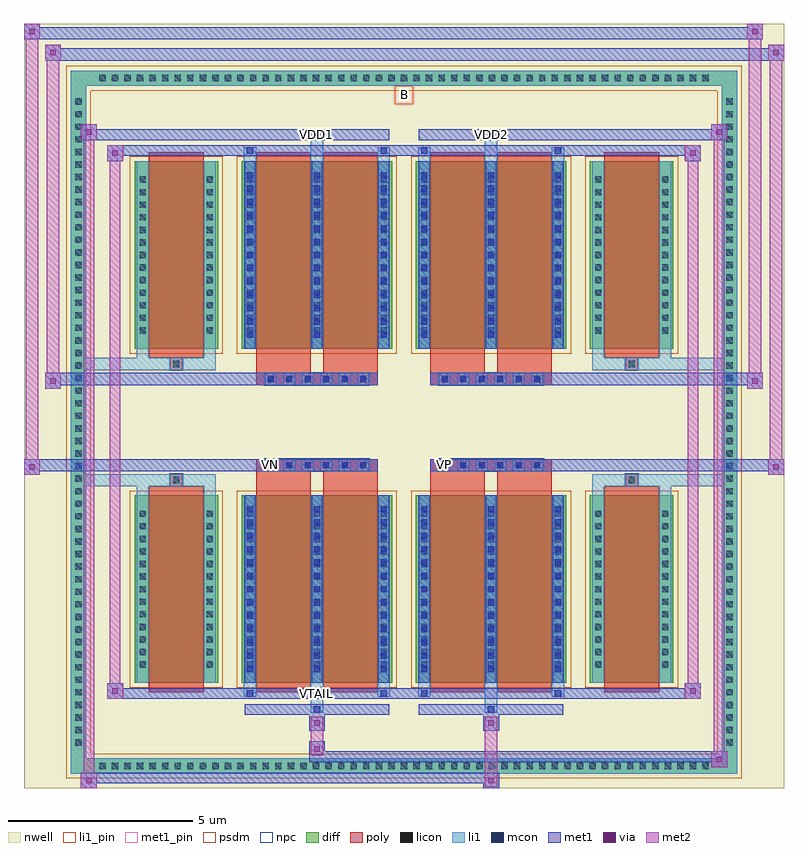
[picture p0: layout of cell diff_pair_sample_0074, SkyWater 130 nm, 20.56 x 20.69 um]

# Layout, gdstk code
import gdstk
lib = gdstk.Library(unit=1e-6, precision=5e-09)
def R(c, l, rs):  # rectangles x0, y0, x1, y1
    for r in rs: c.add(gdstk.rectangle(r[:2], r[2:], *l))
def A(c, l, x, y, w, h, nx, ny, dx, dy):  # array of equal rectangles
    R(c, l, [(x+i*dx, y+j*dy, x+i*dx+w, y+j*dy+h) for i in range(nx) for j in range(ny)])
def P(c, l, *ps):  # polygons
    for p in ps: c.add(gdstk.Polygon(p, *l))
nwell = (64, 20)
diff = (65, 20)
poly = (66, 20)
licon = (66, 44)
li1_pin = (67, 16)
li1 = (67, 20)
mcon = (67, 44)
met1_pin = (68, 16)
met1 = (68, 20)
via = (68, 44)
met2 = (69, 20)
psdm = (94, 20)
npc = (95, 20)

diff_pair_sample_0074 = lib.new_cell('diff_pair_sample_0074')
R(diff_pair_sample_0074, nwell, [(-10.28,-9.91,10.28,10.78), (-7.6,-8.1,-0.01,-0.8), (0.01,-8.1,7.6,-0.8), (-7.6,0.8,-0.01,8.1), (0.01,0.8,7.6,8.1)])
A(diff_pair_sample_0074, diff, -8.365, -9.51, 0.41, 0.41, 49, 2, 0.34, 18.61)
A(diff_pair_sample_0074, diff, -9.01, -8.875, 0.41, 0.41, 1, 52, 0, 0.34)
A(diff_pair_sample_0074, diff, 8.6, -8.875, 0.41, 0.41, 1, 52, 0, 0.34)
R(diff_pair_sample_0074, diff, [(-8.365,-9.51,8.365,-9.1), (-9.01,-8.875,-8.6,8.875), (8.6,-8.875,9.01,8.875), (-7.29,-7.055,-5.03,-1.985), (-4.39,-7.055,-0.32,-1.985), (0.32,-7.055,4.39,-1.985), (5.03,-7.055,7.29,-1.985), (-7.29,1.985,-5.03,7.055), (-4.39,1.985,-0.32,7.055), (0.32,1.985,4.39,7.055), (5.03,1.985,7.29,7.055), (-8.365,9.1,8.365,9.51)])
P(diff_pair_sample_0074, diff, [(9.01,9.51),(-9.01,9.51),(-9.01,-9.1),(-8.6,-9.1),(-8.6,9.1),(8.6,9.1),(8.6,-9.1),(-8.6,-9.1),(-9.01,-9.1),(-9.01,-9.51),(9.01,-9.51)])
A(diff_pair_sample_0074, poly, -3.77, -1.33, 0.33, 0.33, 6, 2, 0.5, 2.33)
A(diff_pair_sample_0074, poly, 0.94, -1.33, 0.33, 0.33, 6, 2, 0.5, 2.33)
R(diff_pair_sample_0074, poly, [(-6.9,-7.305,-5.42,-1.735), (-4,-7.305,-2.52,-1.735), (-2.19,-7.305,-0.71,-1.735), (0.71,-7.305,2.19,-1.735), (2.52,-7.305,4,-1.735), (5.42,-7.305,6.9,-1.735), (-6.325,-1.735,-5.995,-1.405), (-6.325,-1.735,-5.995,-1.405), (-4,-1.735,-2.52,-1.33), (-2.19,-1.735,-0.71,-1.33), (0.71,-1.735,2.19,-1.33), (2.52,-1.735,4,-1.33), (5.995,-1.735,6.325,-1.405), (5.995,-1.735,6.325,-1.405), (-4,-1.33,-0.71,-1), (0.71,-1.33,4,-1), (-4,1,-0.71,1.33), (0.71,1,4,1.33), (-4,1.33,-2.52,1.735), (-2.19,1.33,-0.71,1.735), (0.71,1.33,2.19,1.735), (2.52,1.33,4,1.735), (-6.325,1.405,-5.995,1.735), (-6.325,1.405,-5.995,1.735), (5.995,1.405,6.325,1.735), (5.995,1.405,6.325,1.735), (-6.9,1.735,-5.42,7.305), (-4,1.735,-2.52,7.305), (-2.19,1.735,-0.71,7.305), (0.71,1.735,2.19,7.305), (2.52,1.735,4,7.305), (5.42,1.735,6.9,7.305)])
A(diff_pair_sample_0074, licon, -8.245, -9.39, 0.17, 0.17, 49, 2, 0.34, 18.61)
A(diff_pair_sample_0074, licon, -8.89, -8.755, 0.17, 0.17, 1, 52, 0, 0.34)
A(diff_pair_sample_0074, licon, 8.72, -8.755, 0.17, 0.17, 1, 52, 0, 0.34)
A(diff_pair_sample_0074, licon, -7.15, -6.645, 0.17, 0.17, 1, 13, 0, 0.34)
A(diff_pair_sample_0074, licon, -5.34, -6.645, 0.17, 0.17, 1, 13, 0, 0.34)
A(diff_pair_sample_0074, licon, -4.25, -6.645, 0.17, 0.17, 3, 13, 1.81, 0.34)
A(diff_pair_sample_0074, licon, 0.46, -6.645, 0.17, 0.17, 3, 13, 1.81, 0.34)
A(diff_pair_sample_0074, licon, 5.17, -6.645, 0.17, 0.17, 1, 13, 0, 0.34)
A(diff_pair_sample_0074, licon, 6.98, -6.645, 0.17, 0.17, 1, 13, 0, 0.34)
A(diff_pair_sample_0074, licon, -3.69, -1.25, 0.17, 0.17, 6, 2, 0.5, 2.33)
A(diff_pair_sample_0074, licon, 1.02, -1.25, 0.17, 0.17, 6, 2, 0.5, 2.33)
A(diff_pair_sample_0074, licon, -7.15, 2.395, 0.17, 0.17, 1, 13, 0, 0.34)
A(diff_pair_sample_0074, licon, -5.34, 2.395, 0.17, 0.17, 1, 13, 0, 0.34)
A(diff_pair_sample_0074, licon, -4.25, 2.395, 0.17, 0.17, 3, 13, 1.81, 0.34)
A(diff_pair_sample_0074, licon, 0.46, 2.395, 0.17, 0.17, 3, 13, 1.81, 0.34)
A(diff_pair_sample_0074, licon, 5.17, 2.395, 0.17, 0.17, 1, 13, 0, 0.34)
A(diff_pair_sample_0074, licon, 6.98, 2.395, 0.17, 0.17, 1, 13, 0, 0.34)
R(diff_pair_sample_0074, licon, [(-6.245,-1.655,-6.075,-1.485), (6.075,-1.655,6.245,-1.485), (-6.245,1.485,-6.075,1.655), (6.075,1.485,6.245,1.655)])
R(diff_pair_sample_0074, li1_pin, [(-0.25,8.6,0.25,9.1)])
A(diff_pair_sample_0074, li1, -8.325, -9.47, 0.33, 0.33, 49, 2, 0.34, 18.61)
A(diff_pair_sample_0074, li1, -8.97, -8.835, 0.33, 0.33, 1, 52, 0, 0.34)
A(diff_pair_sample_0074, li1, 8.64, -8.835, 0.33, 0.33, 1, 52, 0, 0.34)
A(diff_pair_sample_0074, li1, -4.33, -7.055, 0.33, 5.07, 3, 2, 1.81, 9.04)
A(diff_pair_sample_0074, li1, 0.38, -7.055, 0.33, 5.07, 3, 2, 1.81, 9.04)
A(diff_pair_sample_0074, li1, -4.25, -6.765, 0.17, 0.17, 3, 13, 1.81, 0.36)
A(diff_pair_sample_0074, li1, -4.25, -6.765, 0.17, 4.49, 3, 2, 1.81, 9.04)
A(diff_pair_sample_0074, li1, 0.46, -6.765, 0.17, 0.17, 3, 13, 1.81, 0.36)
A(diff_pair_sample_0074, li1, 0.46, -6.765, 0.17, 4.49, 3, 2, 1.81, 9.04)
A(diff_pair_sample_0074, li1, -7.23, -6.725, 0.33, 0.33, 1, 13, 0, 0.34)
A(diff_pair_sample_0074, li1, -5.42, -6.725, 0.33, 0.33, 1, 13, 0, 0.34)
A(diff_pair_sample_0074, li1, -4.33, -6.725, 0.33, 0.33, 3, 13, 1.81, 0.34)
A(diff_pair_sample_0074, li1, 0.38, -6.725, 0.33, 0.33, 3, 13, 1.81, 0.34)
A(diff_pair_sample_0074, li1, 5.09, -6.725, 0.33, 0.33, 1, 13, 0, 0.34)
A(diff_pair_sample_0074, li1, 6.9, -6.725, 0.33, 0.33, 1, 13, 0, 0.34)
A(diff_pair_sample_0074, li1, -3.77, -1.33, 0.33, 0.33, 6, 2, 0.5, 2.33)
A(diff_pair_sample_0074, li1, 0.94, -1.33, 0.33, 0.33, 6, 2, 0.5, 2.33)
A(diff_pair_sample_0074, li1, -4.25, 2.275, 0.17, 0.17, 3, 13, 1.81, 0.36)
A(diff_pair_sample_0074, li1, 0.46, 2.275, 0.17, 0.17, 3, 13, 1.81, 0.36)
A(diff_pair_sample_0074, li1, -7.23, 2.315, 0.33, 0.33, 1, 13, 0, 0.34)
A(diff_pair_sample_0074, li1, -5.42, 2.315, 0.33, 0.33, 1, 13, 0, 0.34)
A(diff_pair_sample_0074, li1, -4.33, 2.315, 0.33, 0.33, 3, 13, 1.81, 0.34)
A(diff_pair_sample_0074, li1, 0.38, 2.315, 0.33, 0.33, 3, 13, 1.81, 0.34)
A(diff_pair_sample_0074, li1, 5.09, 2.315, 0.33, 0.33, 1, 13, 0, 0.34)
A(diff_pair_sample_0074, li1, 6.9, 2.315, 0.33, 0.33, 1, 13, 0, 0.34)
R(diff_pair_sample_0074, li1, [(-9.01,-9.51,-8.6,-9.1), (-9.01,-9.51,-8.6,-9.1), (-8.6,-9.51,8.6,-9.1), (8.6,-9.51,9.01,-9.1), (8.6,-9.51,9.01,-9.1), (-9.01,-9.1,-8.6,9.1), (8.6,-9.1,9.01,9.1), (-2.52,-7.86,-2.19,-7.055), (-2.44,-7.86,-2.27,-7.69), (2.19,-7.86,2.52,-7.055), (2.27,-7.86,2.44,-7.69), (-4.33,-7.43,-4,-7.055), (-4.25,-7.43,-4.08,-7.26), (-0.71,-7.43,-0.38,-7.055), (-0.63,-7.43,-0.46,-7.26), (0.38,-7.43,0.71,-7.055), (0.46,-7.43,0.63,-7.26), (4,-7.43,4.33,-7.055), (4.08,-7.43,4.25,-7.26), (-7.23,-7.055,-6.9,-1.985), (-5.42,-7.055,-5.09,-1.985), (5.09,-7.055,5.42,-1.985), (6.9,-7.055,7.23,-1.985), (-7.23,-1.985,-6.9,-1.405), (-5.42,-1.985,-5.09,-1.405), (5.09,-1.985,5.42,-1.405), (6.9,-1.985,7.23,-1.405), (-9.01,-1.735,-6.325,-1.405), (-7.23,-1.735,-6.325,-1.405), (-6.325,-1.735,-5.995,-1.405), (-5.995,-1.735,-5.09,-1.405), (5.09,-1.735,5.995,-1.405), (5.995,-1.735,6.325,-1.405), (5.995,-1.735,9.01,-1.405), (6.325,-1.735,7.23,-1.405), (-9.01,1.405,-6.325,1.735), (-7.23,1.405,-6.325,1.735), (-7.23,1.405,-6.9,1.985), (-6.325,1.405,-5.995,1.735), (-5.995,1.405,-5.09,1.735), (-5.42,1.405,-5.09,1.985), (5.09,1.405,5.995,1.735), (5.09,1.405,5.42,1.985), (5.995,1.405,6.325,1.735), (5.995,1.405,9.01,1.735), (6.325,1.405,7.23,1.735), (6.9,1.405,7.23,1.985), (-7.23,1.985,-6.9,7.055), (-5.42,1.985,-5.09,7.055), (5.09,1.985,5.42,7.055), (6.9,1.985,7.23,7.055), (-4.33,7.055,-4,7.43), (-2.52,7.055,-2.19,7.86), (-0.71,7.055,-0.38,7.43), (0.38,7.055,0.71,7.43), (2.19,7.055,2.52,7.86), (4,7.055,4.33,7.43), (-4.25,7.26,-4.08,7.43), (-0.63,7.26,-0.46,7.43), (0.46,7.26,0.63,7.43), (4.08,7.26,4.25,7.43), (-2.44,7.69,-2.27,7.86), (2.27,7.69,2.44,7.86), (-9.01,9.1,-8.6,9.51), (-9.01,9.1,-8.6,9.51), (-8.6,9.1,8.6,9.51), (8.6,9.1,9.01,9.51), (8.6,9.1,9.01,9.51)])
A(diff_pair_sample_0074, mcon, -4.25, -6.765, 0.17, 0.17, 3, 13, 1.81, 0.36)
A(diff_pair_sample_0074, mcon, 0.46, -6.765, 0.17, 0.17, 3, 13, 1.81, 0.36)
A(diff_pair_sample_0074, mcon, -3.69, -1.25, 0.17, 0.17, 6, 2, 0.5, 2.33)
A(diff_pair_sample_0074, mcon, 1.02, -1.25, 0.17, 0.17, 6, 2, 0.5, 2.33)
A(diff_pair_sample_0074, mcon, -4.25, 2.275, 0.17, 0.17, 3, 13, 1.81, 0.36)
A(diff_pair_sample_0074, mcon, 0.46, 2.275, 0.17, 0.17, 3, 13, 1.81, 0.36)
R(diff_pair_sample_0074, mcon, [(-2.44,-7.86,-2.27,-7.69), (2.27,-7.86,2.44,-7.69), (-4.25,-7.43,-4.08,-7.26), (-0.63,-7.43,-0.46,-7.26), (0.46,-7.43,0.63,-7.26), (4.08,-7.43,4.25,-7.26), (-4.25,7.26,-4.08,7.43), (-0.63,7.26,-0.46,7.43), (0.46,7.26,0.63,7.43), (4.08,7.26,4.25,7.43), (-2.44,7.69,-2.27,7.86), (2.27,7.69,2.44,7.86)])
R(diff_pair_sample_0074, met1_pin, [(-2.49,-7.47,-2.22,-7.2), (-3.74,-1.29,-3.47,-1.02), (0.97,-1.29,1.24,-1.02), (-2.49,7.65,-2.22,7.92), (2.22,7.65,2.49,7.92)])
A(diff_pair_sample_0074, met1, -4.31, -7.055, 0.29, 5.07, 3, 2, 1.81, 9.04)
A(diff_pair_sample_0074, met1, 0.4, -7.055, 0.29, 5.07, 3, 2, 1.81, 9.04)
A(diff_pair_sample_0074, met1, -4.31, -6.825, 0.29, 0.29, 3, 13, 1.81, 0.36)
A(diff_pair_sample_0074, met1, 0.4, -6.825, 0.29, 0.29, 3, 13, 1.81, 0.36)
A(diff_pair_sample_0074, met1, -3.75, -1.31, 0.29, 0.29, 6, 2, 0.5, 2.33)
A(diff_pair_sample_0074, met1, 0.96, -1.31, 0.29, 0.29, 6, 2, 0.5, 2.33)
A(diff_pair_sample_0074, met1, -4.31, 2.215, 0.29, 0.29, 3, 13, 1.81, 0.36)
A(diff_pair_sample_0074, met1, 0.4, 2.215, 0.29, 0.29, 3, 13, 1.81, 0.36)
R(diff_pair_sample_0074, met1, [(-8.74,-9.91,-8.31,-9.48), (2.14,-9.91,2.57,-9.48), (-8.74,-9.77,2.57,-9.48), (8.31,-9.34,8.74,-8.91), (-2.57,-9.2,8.74,-8.91), (-2.57,-9.06,-2.14,-8.63), (-2.57,-8.35,-2.14,-7.92), (2.14,-8.35,2.57,-7.92), (-4.31,-7.92,-0.4,-7.63), (-2.5,-7.92,-2.21,-7.63), (0.4,-7.92,4.31,-7.63), (2.21,-7.92,2.5,-7.63), (-8.03,-7.49,-7.6,-7.06), (-8.03,-7.49,-4.31,-7.2), (-4.31,-7.49,-4.02,-7.2), (-4.31,-7.49,-0.4,-7.2), (-0.69,-7.49,-0.4,-7.2), (-0.4,-7.49,0.4,-7.2), (0.4,-7.49,0.69,-7.2), (0.4,-7.49,4.31,-7.2), (4.02,-7.49,4.31,-7.2), (4.31,-7.49,8.03,-7.2), (7.6,-7.49,8.03,-7.06), (-10.28,-1.43,-9.85,-1), (9.85,-1.43,10.28,-1), (-10.28,-1.33,-0.71,-1), (-4,-1.33,-0.71,-1), (0.71,-1.33,4,-1), (0.71,-1.33,10.28,-1), (-9.71,0.9,-9.28,1.33), (9.28,0.9,9.71,1.33), (-9.71,1,-4,1.33), (-4,1,-0.71,1.33), (0.71,1,4,1.33), (4,1,9.71,1.33), (-8.03,7.06,-7.6,7.49), (7.6,7.06,8.03,7.49), (-8.03,7.2,-4.31,7.49), (-4.31,7.2,-4.02,7.49), (-4.31,7.2,-0.4,7.49), (-0.69,7.2,-0.4,7.49), (-0.4,7.2,0.4,7.49), (0.4,7.2,0.69,7.49), (0.4,7.2,4.31,7.49), (4.02,7.2,4.31,7.49), (4.31,7.2,8.03,7.49), (-8.74,7.63,-8.31,8.06), (-8.74,7.63,-4.31,7.92), (-4.31,7.63,-0.4,7.92), (-2.5,7.63,-2.21,7.92), (0.4,7.63,4.31,7.92), (2.21,7.63,2.5,7.92), (4.31,7.63,8.74,7.92), (8.31,7.63,8.74,8.06), (-9.71,9.78,-9.28,10.21), (-9.71,9.78,-7.6,10.11), (-7.6,9.78,7.6,10.11), (7.6,9.78,10.28,10.11), (9.85,9.78,10.28,10.21), (-10.28,10.35,-9.85,10.78), (-10.28,10.35,-7.6,10.68), (-7.6,10.35,7.6,10.68), (7.6,10.35,9.71,10.68), (9.28,10.35,9.71,10.78)])
R(diff_pair_sample_0074, via, [(-8.6,-9.77,-8.45,-9.62), (2.28,-9.77,2.43,-9.62), (8.45,-9.2,8.6,-9.05), (-2.43,-8.92,-2.28,-8.77), (-2.43,-8.21,-2.28,-8.06), (2.28,-8.21,2.43,-8.06), (-7.89,-7.35,-7.74,-7.2), (7.74,-7.35,7.89,-7.2), (-10.14,-1.29,-9.99,-1.14), (9.99,-1.29,10.14,-1.14), (-9.57,1.04,-9.42,1.19), (9.42,1.04,9.57,1.19), (-7.89,7.2,-7.74,7.35), (7.74,7.2,7.89,7.35), (-8.6,7.77,-8.45,7.92), (8.45,7.77,8.6,7.92), (-9.57,9.92,-9.42,10.07), (9.99,9.92,10.14,10.07), (-10.14,10.49,-9.99,10.64), (9.42,10.49,9.57,10.64)])
R(diff_pair_sample_0074, met2, [(-8.74,-9.91,-8.31,-9.48), (-8.67,-9.91,-8.38,8.06), (-8.38,-9.91,-8.31,-9.48), (-8.69,-9.86,-8.36,-9.53), (2.19,-9.86,2.52,-9.53), (2.19,-9.53,2.52,-8.3), (8.31,-9.34,8.74,-8.91), (8.38,-9.34,8.67,8.06), (8.67,-9.34,8.74,-8.91), (8.36,-9.29,8.69,-8.96), (-2.52,-9.01,-2.19,-8.68), (-2.52,-8.68,-2.19,-8.3), (-2.52,-8.3,-2.19,-7.97), (2.19,-8.3,2.52,-7.97), (-8.03,-7.49,-7.6,-7.06), (-7.96,-7.49,-7.67,7.49), (-7.67,-7.49,-7.6,-7.06), (7.6,-7.49,8.03,-7.06), (7.67,-7.49,7.96,7.49), (7.96,-7.49,8.03,-7.06), (-7.98,-7.44,-7.65,-7.11), (7.65,-7.44,7.98,-7.11), (-10.28,-1.43,-9.85,-1), (-10.23,-1.43,-9.9,10.78), (-9.9,-1.43,-9.85,-1), (9.85,-1.43,10.28,-1), (9.9,-1.43,10.23,10.21), (10.23,-1.43,10.28,-1), (-10.23,-1.38,-9.9,-1.05), (9.9,-1.38,10.23,-1.05), (-9.71,0.9,-9.28,1.33), (-9.66,0.9,-9.33,10.21), (-9.33,0.9,-9.28,1.33), (9.28,0.9,9.71,1.33), (9.33,0.9,9.66,10.78), (9.66,0.9,9.71,1.33), (-9.66,0.95,-9.33,1.28), (9.33,0.95,9.66,1.28), (-8.03,7.06,-7.6,7.49), (-7.67,7.06,-7.6,7.49), (7.6,7.06,8.03,7.49), (7.96,7.06,8.03,7.49), (-7.98,7.11,-7.65,7.44), (7.65,7.11,7.98,7.44), (-8.74,7.63,-8.31,8.06), (-8.38,7.63,-8.31,8.06), (8.31,7.63,8.74,8.06), (8.67,7.63,8.74,8.06), (-8.69,7.68,-8.36,8.01), (8.36,7.68,8.69,8.01), (-9.71,9.78,-9.28,10.21), (-9.33,9.78,-9.28,10.21), (9.85,9.78,10.28,10.21), (10.23,9.78,10.28,10.21), (-9.66,9.83,-9.33,10.16), (9.9,9.83,10.23,10.16), (-10.28,10.35,-9.85,10.78), (-9.9,10.35,-9.85,10.78), (9.28,10.35,9.71,10.78), (9.66,10.35,9.71,10.78), (-10.23,10.4,-9.9,10.73), (9.33,10.4,9.66,10.73)])
R(diff_pair_sample_0074, psdm, [(-7.42,-7.185,-4.9,-1.855), (-4.52,-7.185,-0.19,-1.855), (0.19,-7.185,4.52,-1.855), (4.9,-7.185,7.42,-1.855), (-7.42,1.855,-4.9,7.185), (-4.52,1.855,-0.19,7.185), (0.19,1.855,4.52,7.185), (4.9,1.855,7.42,7.185)])
P(diff_pair_sample_0074, psdm, [(9.14,9.64),(-9.14,9.64),(-9.14,-8.97),(-8.47,-8.97),(-8.47,8.97),(8.47,8.97),(8.47,-8.97),(-8.47,-8.97),(-9.14,-8.97),(-9.14,-9.64),(9.14,-9.64)])
A(diff_pair_sample_0074, npc, -3.79, -1.35, 0.37, 0.37, 6, 2, 0.5, 2.33)
A(diff_pair_sample_0074, npc, 0.92, -1.35, 0.37, 0.37, 6, 2, 0.5, 2.33)
R(diff_pair_sample_0074, npc, [(-6.345,-1.755,-5.975,-1.385), (5.975,-1.755,6.345,-1.385), (-3.79,-1.35,-2.92,-0.98), (-3.79,-1.35,-2.92,-0.98), (-3.29,-1.35,-2.42,-0.98), (-3.29,-1.35,-2.42,-0.98), (-2.79,-1.35,-1.92,-0.98), (-2.79,-1.35,-1.92,-0.98), (-2.29,-1.35,-1.42,-0.98), (-2.29,-1.35,-1.42,-0.98), (-1.79,-1.35,-0.92,-0.98), (-1.79,-1.35,-0.92,-0.98), (0.92,-1.35,1.79,-0.98), (0.92,-1.35,1.79,-0.98), (1.42,-1.35,2.29,-0.98), (1.42,-1.35,2.29,-0.98), (1.92,-1.35,2.79,-0.98), (1.92,-1.35,2.79,-0.98), (2.42,-1.35,3.29,-0.98), (2.42,-1.35,3.29,-0.98), (2.92,-1.35,3.79,-0.98), (2.92,-1.35,3.79,-0.98), (-3.79,0.98,-2.92,1.35), (-3.79,0.98,-2.92,1.35), (-3.29,0.98,-2.42,1.35), (-3.29,0.98,-2.42,1.35), (-2.79,0.98,-1.92,1.35), (-2.79,0.98,-1.92,1.35), (-2.29,0.98,-1.42,1.35), (-2.29,0.98,-1.42,1.35), (-1.79,0.98,-0.92,1.35), (-1.79,0.98,-0.92,1.35), (0.92,0.98,1.79,1.35), (0.92,0.98,1.79,1.35), (1.42,0.98,2.29,1.35), (1.42,0.98,2.29,1.35), (1.92,0.98,2.79,1.35), (1.92,0.98,2.79,1.35), (2.42,0.98,3.29,1.35), (2.42,0.98,3.29,1.35), (2.92,0.98,3.79,1.35), (2.92,0.98,3.79,1.35), (-6.345,1.385,-5.975,1.755), (5.975,1.385,6.345,1.755)])
diff_pair_sample_0074.add(gdstk.Label('VTAIL', (-2.355,-7.335), layer=68, texttype=5))
diff_pair_sample_0074.add(gdstk.Label('VN', (-3.605,-1.155), layer=68, texttype=5))
diff_pair_sample_0074.add(gdstk.Label('VP', (1.105,-1.155), layer=68, texttype=5))
diff_pair_sample_0074.add(gdstk.Label('B', (0,8.85), layer=67, texttype=5))
diff_pair_sample_0074.add(gdstk.Label('VDD2', (2.355,7.785), layer=68, texttype=5))
diff_pair_sample_0074.add(gdstk.Label('VDD1', (-2.355,7.785), layer=68, texttype=5))

lib.write_gds('diff_pair_sample_0074.gds')
